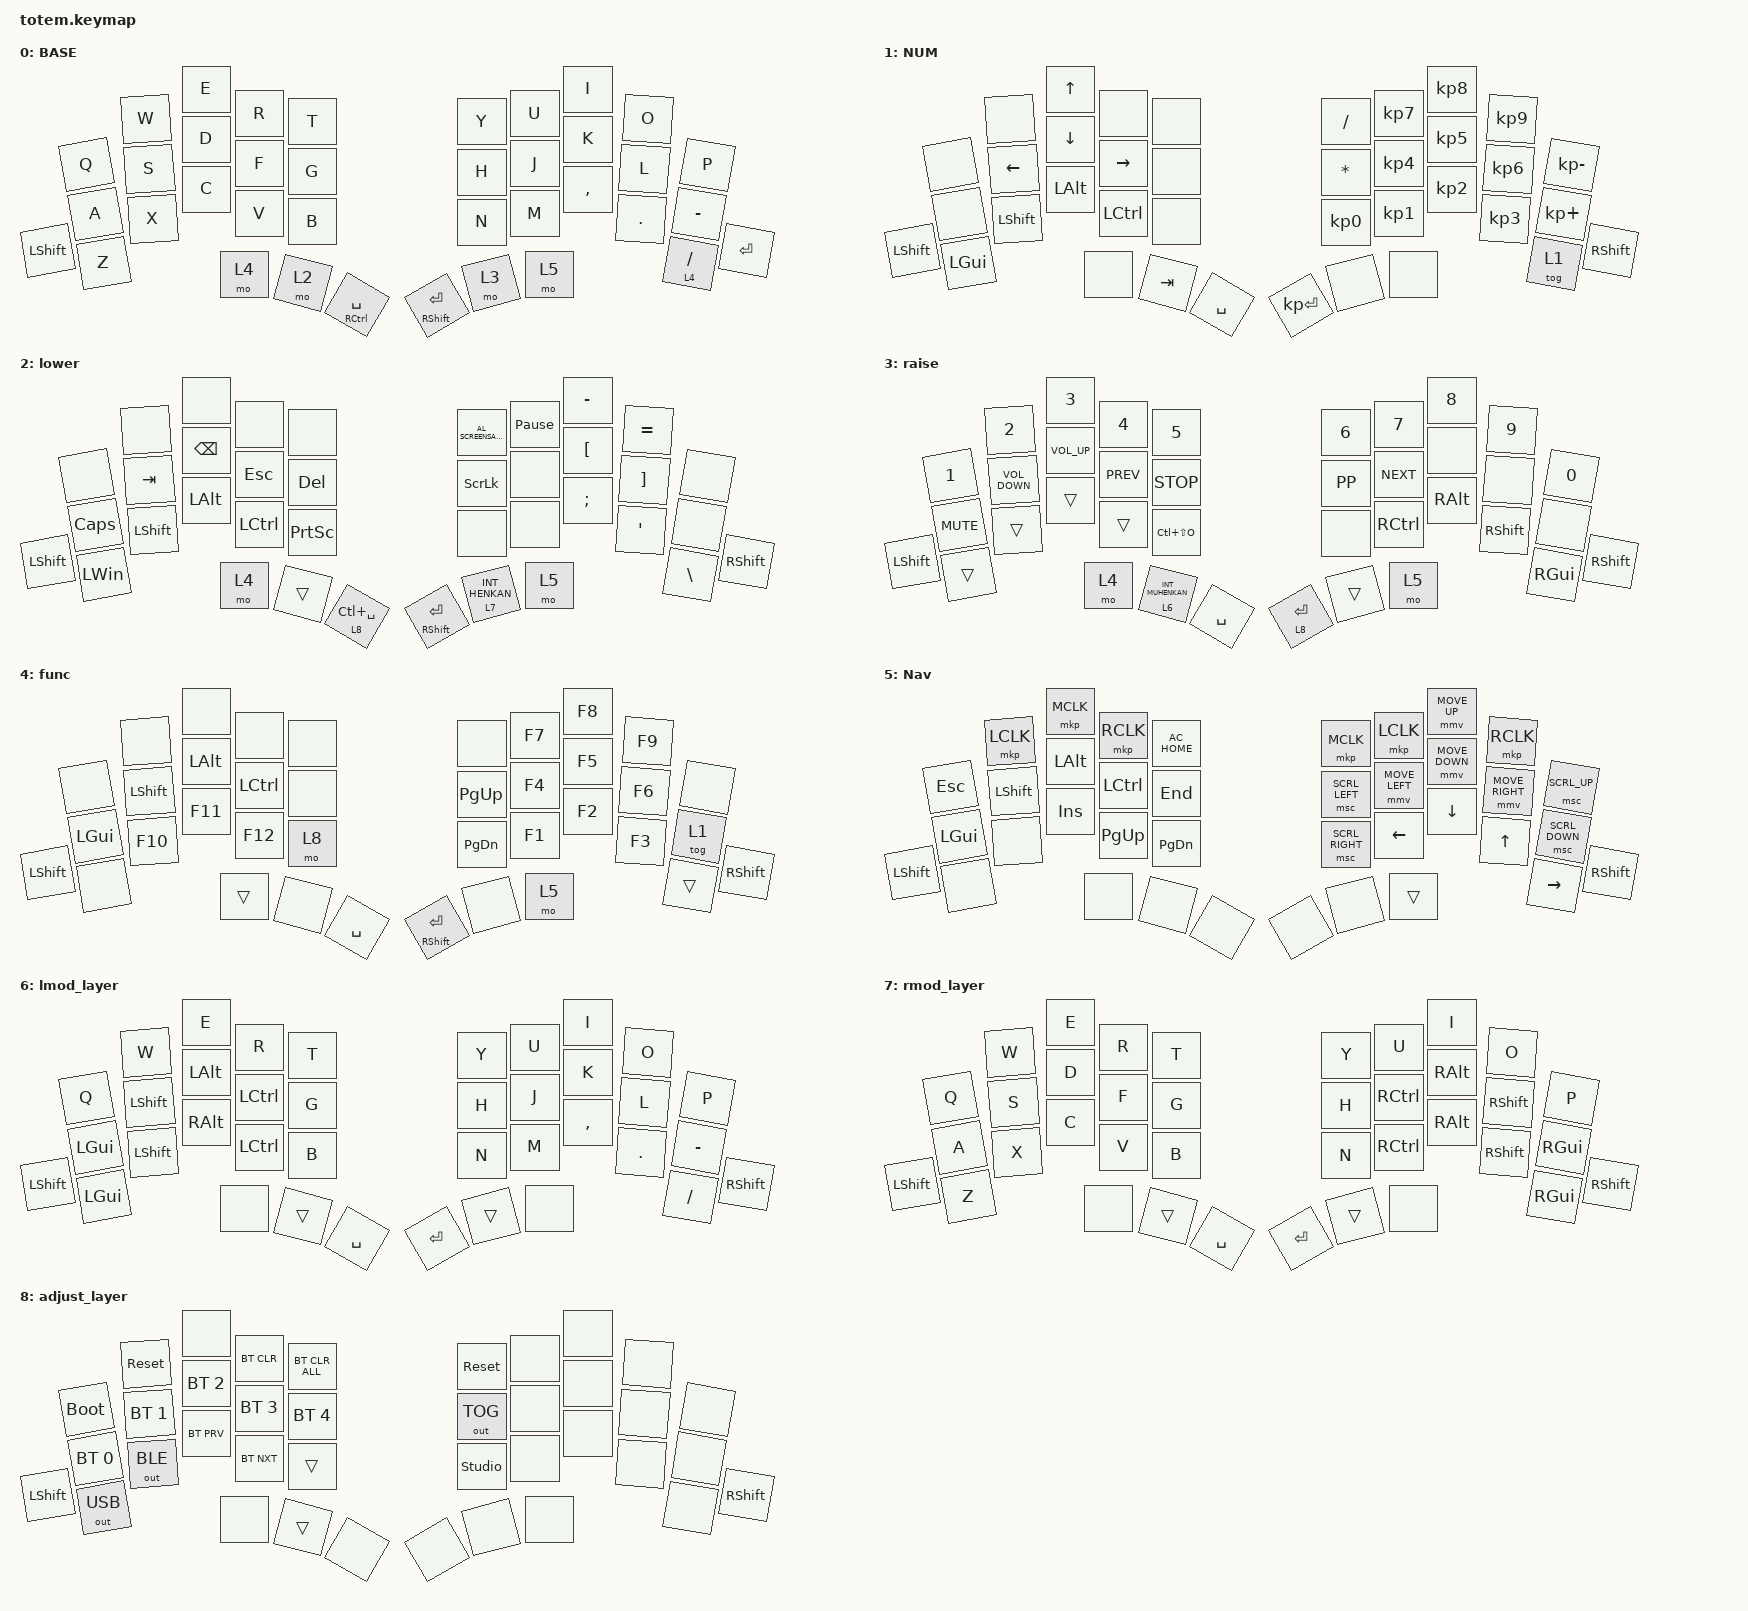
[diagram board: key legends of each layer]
// 利便性を考えて、デフォルトではなくhttps://github.com/note96e/thorium/ ベース　Mityoku（QWERTY）配列

#include <dt-bindings/zmk/mouse.h>
#include <behaviors/rgbled_widget.dtsi>
#include <behaviors.dtsi>
#include <dt-bindings/zmk/bt.h>
#include <dt-bindings/zmk/keys.h>
#include <dt-bindings/zmk/outputs.h>
#include <dt-bindings/zmk/pointing.h>

&mt {
    quick-tap-ms = <175>;
    require-prior-idle-ms = <125>;
    flavor = "tap-preferred";
    tapping-term-ms = <300>;
};

/ {
    combos {
        compatible = "zmk,combos";

        combo_esc {
            timeout-ms = <50>;
            key-positions = <0 1>;
            bindings = <&kp ESC>;
        };

        back {
            bindings = <&kp BACKSPACE>;
            key-positions = <8 9>;
            timeout-ms = <50>;
        };

        ZenHan {
            bindings = <&kp LA(SPACE)>;
            key-positions = <12 13>;
            timeout-ms = <50>;
        };

        Num-Dot-Combo {
            bindings = <&kp DOT>;
            key-positions = <27 28>;
            timeout-ms = <20>;
            layers = <1>;
        };

        ndq {
            bindings = <&ndq_id_macro>;
            key-positions = <1 2>;
            layers = <2>;
        };

        pc {
            bindings = <&PC_macro>;
            key-positions = <2 3>;
            layers = <2>;
        };

        kakko_start {
            bindings = <&kp LEFT_PARENTHESIS>;
            key-positions = <7 6>;
            layers = <1>;
        };

        kakko_end {
            bindings = <&kp RIGHT_PARENTHESIS>;
            key-positions = <7 8>;
            layers = <1>;
        };

        zaq {
            bindings = <&zaq_macro>;
            key-positions = <4 3>;
            layers = <2>;
        };

        sysop {
            bindings = <&sysop_macro>;
            key-positions = <1 3>;
        };
    };

    macros {
        zaq_macro: zaq_macro {
            compatible = "zmk,behavior-macro";
            #binding-cells = <0>;
            bindings = <&kp Z &kp A &kp Q &kp N1 &kp DQT &kp LS(W) &kp LS(S) &kp LS(X)>;
            label = "ZAQ_MACRO";
        };

        ndq_id_macro: nsq_id_macro {
            compatible = "zmk,behavior-macro";
            #binding-cells = <0>;
            bindings = <&kp N4 &kp N4 &kp N5 &kp N6 &kp N3 &kp N6 &kp N0>;
            label = "NSQ_ID_MACRO";
        };

        PC_macro: PC_macro {
            compatible = "zmk,behavior-macro";
            #binding-cells = <0>;
            bindings = <&kp A &kp S &kp D &kp F &kp SEMI &kp L &kp K &kp J>;
            label = "PC_MACRO";
        };

        sysop_macro: sysop_macro {
            compatible = "zmk,behavior-macro";
            #binding-cells = <0>;
            bindings = <&kp S &kp Y &kp S &kp O &kp P &kp N0 &kp N0 &kp N0>;
            label = "SYSOP_MACRO";
        };
    };

    keymap {
        compatible = "zmk,keymap";

        // ─────────────────────────────
        // BASE（jurf 60% Miryoku　Base）
        // ─────────────────────────────

        base_layer {
            display-name = "BASE";
            bindings = <
           &kp Q  &kp W  &kp E  &kp R  &kp T              &kp Y                  &kp U  &kp I      &kp O    &kp P
           &kp A  &kp S  &kp D  &kp F  &kp G              &kp H                  &kp J  &kp K      &kp L    &kp MINUS
&kp LSHFT  &kp Z  &kp X  &kp C  &kp V  &kp B              &kp N                  &kp M  &kp COMMA  &kp DOT  &lt 4 SLASH  &kp ENTER
                         &mo 4  &mo 2  &mt RCTRL SPACE    &mt RIGHT_SHIFT ENTER  &mo 3  &mo 5
            >;
        };

        num_layer {
            display-name = "NUM";
            bindings = <
           &none         &none           &kp UP_ARROW    &none            &none        &kp SLASH     &kp KP_N7  &kp KP_N8  &kp KP_N9  &kp KP_MINUS
           &none         &kp LEFT_ARROW  &kp DOWN_ARROW  &kp RIGHT_ARROW  &none        &kp ASTERISK  &kp KP_N4  &kp KP_N5  &kp KP_N6  &kp KP_PLUS
&kp LSHFT  &kp LEFT_GUI  &kp LEFT_SHIFT  &kp LEFT_ALT    &kp LCTRL        &none        &kp KP_N0     &kp KP_N1  &kp KP_N2  &kp KP_N3  &tog 1        &kp RSHFT
                                         &none           &kp TAB          &kp SPACE    &kp KP_ENTER  &none      &none
            >;
        };

        lower_layer {
            display-name = "lower";
            bindings = <
           &none         &none      &none          &none       &none              &kp C_AL_SCREENSAVER   &kp PAUSE_BREAK   &kp MINUS         &kp EQUAL          &none
           &kp CAPSLOCK  &kp TAB    &kp BACKSPACE  &kp ESCAPE  &kp DELETE         &kp SCROLLLOCK         &none             &kp LEFT_BRACKET  &kp RIGHT_BRACKET  &none
&kp LSHFT  &kp LWIN      &kp LSHFT  &kp LEFT_ALT   &kp LCTRL   &kp PRINTSCREEN    &none                  &none             &kp SEMICOLON     &kp SQT            &kp BACKSLASH  &kp RSHFT
                                    &mo 4          &trans      &lt 8 LC(SPACE)    &mt RIGHT_SHIFT ENTER  &lt 7 INT_HENKAN  &mo 5
            >;
        };

        raise_layer {
            display-name = "raise";
            bindings = <
           &kp NUMBER_1  &kp NUMBER_2       &kp NUMBER_3  &kp NUMBER_4        &kp NUMBER_5     &kp NUMBER_6  &kp NUMBER_7  &kp NUMBER_8  &kp NUMBER_9  &kp NUMBER_0
           &kp K_MUTE    &kp C_VOLUME_DOWN  &kp C_VOL_UP  &kp K_PREV          &kp K_STOP       &kp K_PP      &kp K_NEXT    &none         &none         &none
&kp LSHFT  &trans        &trans             &trans        &trans              &kp LC(LS(O))    &none         &kp RCTRL     &kp RALT      &kp RSHFT     &kp RIGHT_GUI  &kp RSHFT
                                            &mo 4         &lt 6 INT_MUHENKAN  &kp SPACE        &lt 8 ENTER   &trans        &mo 5
            >;
        };

        func_layer {
            display-name = "func";
            bindings = <
           &none         &none           &none         &none      &none        &none                  &kp F7  &kp F8  &kp F9  &none
           &kp LEFT_GUI  &kp LEFT_SHIFT  &kp LEFT_ALT  &kp LCTRL  &none        &kp PAGE_UP            &kp F4  &kp F5  &kp F6  &tog 1
&kp LSHFT  &none         &kp F10         &kp F11       &kp F12    &mo 8        &kp PAGE_DOWN          &kp F1  &kp F2  &kp F3  &trans  &kp RSHFT
                                         &trans        &none      &kp SPACE    &mt RIGHT_SHIFT ENTER  &none   &mo 5
            >;
        };

        nav_layer {
            display-name = "Nav";
            bindings = <
           &kp ESCAPE    &mkp LCLK       &mkp MCLK     &mkp RCLK  &kp C_AC_HOME    &mkp MCLK        &mkp LCLK       &mmv MOVE_UP    &mkp RCLK        &msc SCRL_UP
           &kp LEFT_GUI  &kp LEFT_SHIFT  &kp LEFT_ALT  &kp LCTRL  &kp END          &msc SCRL_LEFT   &mmv MOVE_LEFT  &mmv MOVE_DOWN  &mmv MOVE_RIGHT  &msc SCRL_DOWN
&kp LSHFT  &none         &none           &kp INSERT    &kp PG_UP  &kp PAGE_DOWN    &msc SCRL_RIGHT  &kp LEFT        &kp DOWN        &kp UP           &kp RIGHT       &kp RSHFT
                                         &none         &none      &none            &none            &none           &trans
            >;
        };

        lmod_layer {
            bindings = <
           &kp Q         &kp W           &kp E          &kp R      &kp T        &kp Y    &kp U   &kp I      &kp O       &kp P
           &kp LEFT_GUI  &kp LEFT_SHIFT  &kp LALT       &kp LCTRL  &kp G        &kp H    &kp J   &kp K      &kp L       &kp MINUS
&kp LSHFT  &kp LEFT_GUI  &kp LEFT_SHIFT  &kp RIGHT_ALT  &kp LCTRL  &kp B        &kp N    &kp M   &kp COMMA  &kp PERIOD  &kp SLASH  &kp RSHFT
                                         &none          &trans     &kp SPACE    &kp RET  &trans  &none
            >;
        };

        rmod_layer {
            bindings = <
           &kp Q  &kp W  &kp E  &kp R   &kp T        &kp Y    &kp U      &kp I          &kp O      &kp P
           &kp A  &kp S  &kp D  &kp F   &kp G        &kp H    &kp RCTRL  &kp RIGHT_ALT  &kp RSHFT  &kp RIGHT_GUI
&kp LSHFT  &kp Z  &kp X  &kp C  &kp V   &kp B        &kp N    &kp RCTRL  &kp RIGHT_ALT  &kp RSHFT  &kp RIGHT_GUI  &kp RSHFT
                         &none  &trans  &kp SPACE    &kp RET  &trans     &none
            >;
        };

        adjust_layer {
            bindings = <
                &bootloader   &sys_reset    &none         &bt BT_CLR    &bt BT_CLR_ALL    &sys_reset      &none  &none  &none  &none
                &bt BT_SEL 0  &bt BT_SEL 1  &bt BT_SEL 2  &bt BT_SEL 3  &bt BT_SEL 4      &out OUT_TOG    &none  &none  &none  &none
&kp LEFT_SHIFT  &out OUT_USB  &out OUT_BLE  &bt BT_PRV    &bt BT_NXT    &trans            &studio_unlock  &none  &none  &none  &none  &kp RSHFT
                                            &none         &trans        &none             &none           &none  &none
            >;
        };
    };
};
